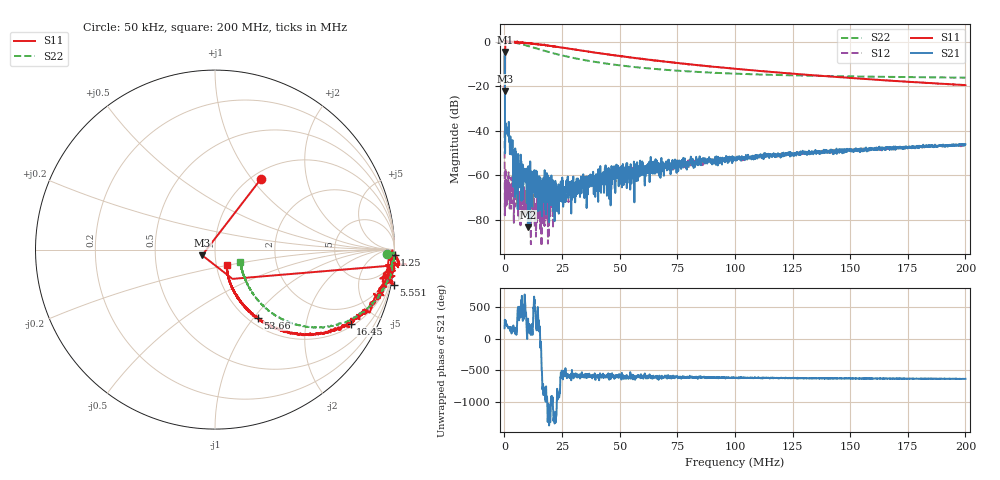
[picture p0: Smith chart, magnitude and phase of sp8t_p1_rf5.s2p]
! 26-Feb-26 11:24:31 AM
! E:\VNA_MEASUREMENTS\SP8T\SP8T_P1_RF5.S2P
! CHANNEL.1
! TR.MEASUREMENT
! CORRECTED.DATA
# GHZ S RI R 50.0
! FREQ.GHZ  S11RE  S11IM  S21RE  S21IM  S12RE  S12IM  S22RE  S22IM
!; PortSelection: Port_12
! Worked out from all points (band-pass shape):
!   2000 points, 50 kHz to 200 MHz, reference 50 ohm
!   highest |S21| = -4.62 dB at 150 kHz (marker M1); lowest = -83.2 dB at 10.15 MHz (marker M2)
!   |S21| within 3 dB of the highest: 125.9 kHz to 156.6 kHz (30.72 kHz wide, 21.7 % of centre)
!   lowest |S11| = -22.1 dB at 150 kHz (marker M3), VSWR 1.17, Z = 43.2 - j2.75 ohm
!   |S11| at or under -10 dB: 71.75 kHz to 279.6 kHz (207.8 kHz wide, 118 % of centre); 78.64445 MHz to 78.73981 MHz (95.36 kHz wide, 0.121 % of centre); 79.09 MHz to end of sweep
!   |S22| runs from -16.2 to 0.1 dB; largest |S21 - S12| = 0.59
!   S11 on the Smith chart (normalised r, x): 50 kHz: 1.10, +1.10; 1.25 MHz: -3, -72; 5.551 MHz: -1, -10; 16.45 MHz: 1.12, -3.59; 53.66 MHz: 1.10, -1.05; 200 MHz: 1.13, -0.19
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5e-05  0.254 0.391  -0.1359 0.0344  -0.00707 -0.00714  0.9604 -0.024
0.000150025  -0.0715 -0.0316  0.2976 -0.5069  -0.000107 6.99e-05  1.007 -0.0129
0.0012503  1.001 -0.0279  -0.00785 -0.00308  0.000107 -0.00024  0.9889 -0.0845
0.004751176  0.9705 -0.1595  0.000338 0.00103  8.93e-05 -0.000181  0.9089 -0.2674
0.005551376  0.995 -0.1963  0.00202 0.00115  -4.52e-05 0.000224  0.875 -0.2974
0.01015253  0.879 -0.2895  4.92e-05 -4.88e-05  -0.000399 0.000233  0.6881 -0.4129
0.01105275  0.8647 -0.3235  -0.000564 8.2e-05  -9.02e-05 -0.000273  0.654 -0.4259
0.01315328  0.8187 -0.3614  0.000116 0.00106  -1.49e-05 -6.91e-05  0.5818 -0.4348
0.0152538  0.7679 -0.3859  -7.94e-05 0.000307  0.000104 0.0001  0.5169 -0.4304
0.0164541  0.7563 -0.4123  5.58e-05 -0.000774  -0.000171 8.08e-05  0.4844 -0.4258
0.0232558  0.5977 -0.4667  -0.000317 0.000308  -0.000507 0.000245  0.3545 -0.3766
0.03345835  0.4295 -0.4632  -0.000177 0.000585  -0.000466 0.000433  0.2586 -0.3025
0.04036008  0.3434 -0.4372  -0.000565 0.000929  -0.000498 0.00075  0.2232 -0.2621
0.04436108  0.3086 -0.4227  -0.00042 0.000346  -0.00052 0.000798  0.2095 -0.2446
0.04536133  0.2995 -0.4235  -0.000884 0.000398  -0.000609 0.000811  0.2069 -0.2389
0.04846211  0.2745 -0.4068  -0.000501 0.00126  -0.000485 0.000845  0.1996 -0.2256
0.05366341  0.238 -0.379  -0.000297 0.00106  -0.000517 0.00109  0.1889 -0.2075
0.06676668  0.1773 -0.3284  -0.000426 0.00105  -0.00048 0.00157  0.1709 -0.1707
0.100075  0.1016 -0.2261  -0.000396 0.00253  -0.000301 0.00233  0.152 -0.1188
0.1333833  0.0762 -0.1606  -0.000224 0.00315  -7.29e-05 0.00334  0.1459 -0.0922
0.1666917  0.0673 -0.1162  0.000124 0.00399  0.00022 0.0042  0.1432 -0.0774
0.2  0.0663 -0.083  0.000615 0.00497  0.000514 0.00503  0.1413 -0.0664
